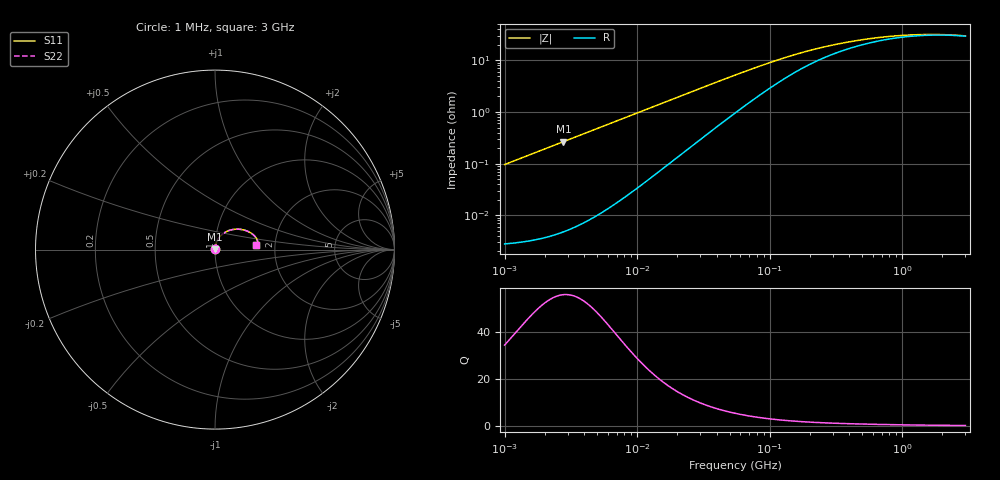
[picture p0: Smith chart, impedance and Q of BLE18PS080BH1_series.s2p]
! BLE18PS080BH1
# Hz S RI R 50
!Freq.(Hz) S11(Real) S11(Imag) S21(Real) S21(Imag) S12(Real) S12(Imag) S22(Real) S22(Imag)
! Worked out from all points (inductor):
!   401 points, 1 MHz to 3 GHz, reference 50 ohm
!   read as one part in series: L = 15.3 nH near 1.041 MHz
!   highest Q = 55.9 at 2.775 MHz (marker M1), where L = 15.3 nH
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1000000  2.89e-05 0.00096  1 -0.00096  1 -0.00096  2.89e-05 0.00096
1040844  2.92e-05 0.000999  1 -0.000999  1 -0.000999  2.92e-05 0.000999
2775447  5.48e-05 0.00266  0.9999 -0.00266  0.9999 -0.00266  5.48e-05 0.00266
3823119  8.18e-05 0.00367  0.9999 -0.00367  0.9999 -0.00367  8.18e-05 0.00367
1.461624e7  0.000898 0.014  0.9991 -0.014  0.9991 -0.014  0.000898 0.014
2.944989e7  0.0036 0.0279  0.9964 -0.0279  0.9964 -0.0279  0.0036 0.0279
5.477226e7  0.0119 0.0497  0.9881 -0.0497  0.9881 -0.0497  0.0119 0.0497
8.173662e7  0.0246 0.0693  0.9754 -0.0693  0.9754 -0.0693  0.0246 0.0693
1.148668e8  0.0431 0.0875  0.9569 -0.0875  0.9569 -0.0875  0.0431 0.0875
1.550909e8  0.0662 0.1016  0.9338 -0.1016  0.9338 -0.1016  0.0662 0.1016
1.820241e8  0.0808 0.1074  0.9192 -0.1074  0.9192 -0.1074  0.0808 0.1074
2.094008e8  0.0945 0.111  0.9055 -0.111  0.9055 -0.111  0.0945 0.111
2.408952e8  0.1087 0.1132  0.8913 -0.1132  0.8913 -0.1132  0.1087 0.1132
2.827291e8  0.1251 0.1139  0.8749 -0.1139  0.8749 -0.1139  0.1251 0.1139
3.318279e8  0.1413 0.1128  0.8587 -0.1128  0.8587 -0.1128  0.1413 0.1128
3.973271e8  0.1588 0.1097  0.8412 -0.1097  0.8412 -0.1097  0.1588 0.1097
5.583748e8  0.189 0.0988  0.811 -0.0988  0.811 -0.0988  0.189 0.0988
8.005644e8  0.2142 0.082  0.7858 -0.082  0.7858 -0.082  0.2142 0.082
1.125055e9  0.2299 0.064  0.7701 -0.064  0.7701 -0.064  0.2299 0.064
1.581072e9  0.2372 0.047  0.7628 -0.047  0.7628 -0.047  0.2372 0.047
2.177892e9  0.2364 0.0343  0.7636 -0.0343  0.7636 -0.0343  0.2364 0.0343
3e9  0.2277 0.0274  0.7723 -0.0274  0.7723 -0.0274  0.2277 0.0274
